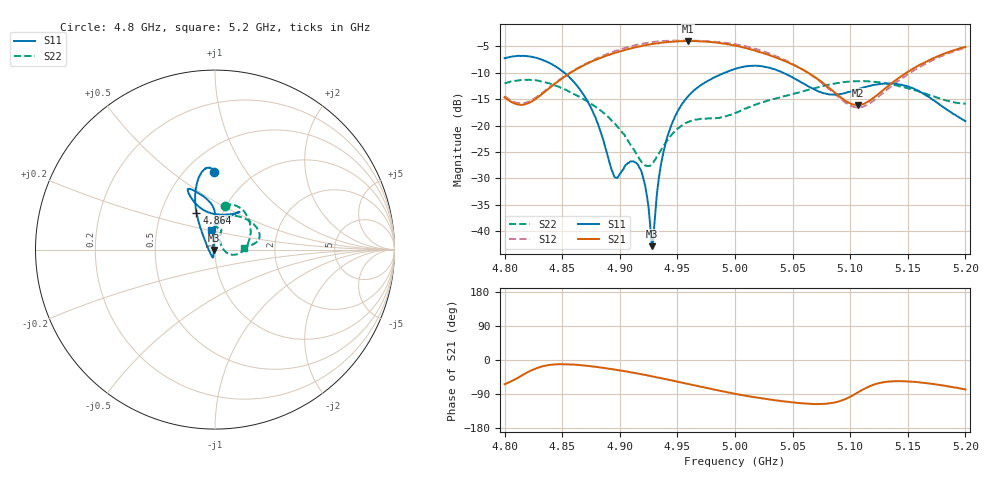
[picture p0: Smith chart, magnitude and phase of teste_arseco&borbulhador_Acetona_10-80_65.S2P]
! Network Analyzer HP8722D
! Hewlett-Packard
! Data name: Linha & Wilkinson
! Saver's name: Rodrigo Anjos
! Comments: Teste da utilização de aquisição
! continua pelo VNA HP8722D
! Time and date: 25/4/2025 15:48
!  Frequency  S11  S21  S12  S22
# HZ  S  MA R 50
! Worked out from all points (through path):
!   401 points, 4.8 GHz to 5.2 GHz, reference 50 ohm
!   highest |S21| = -3.97 dB at 4.959 GHz (marker M1); lowest = -16.1 dB at 5.107 GHz (marker M2)
!   lowest |S11| = -42.8 dB at 4.928 GHz (marker M3), VSWR 1.01, Z = 49.3 - j0.178 ohm
!   |S11| at or under -10 dB: 4.852 GHz to 4.991 GHz (138.7 MHz wide, 2.82 % of centre); 5.042 GHz to end of sweep
!   |S22| runs from -27.7 to -11.3 dB; largest |S21 - S12| = 1.2
!   S11 on the Smith chart (normalised r, x): 4.8 GHz: 0.68, +0.73; 4.864 GHz: 0.75, +0.33; 5.2 GHz: 0.94, +0.21
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4.8e9  0.4345 90.5  0.1856 -63.8  0.1904 69.9  0.2519 77.1
4.82e9  0.4529 96.8  0.162 -32.2  0.1678 98.6  0.271 61.6
4.843e9  0.3706 106.1  0.2466 -11.9  0.2498 118.8  0.2435 36.4
4.864e9  0.2308 116.6  0.3507 -13.0  0.3533 120.9  0.189 12.0
4.867e9  0.2076 118.3  0.3647 -14.1  0.369 120.7  0.1824 8.5
4.88e9  0.1102 128.8  0.424 -18.6  0.4344 118.2  0.1477 -5.4
4.896e9  0.03218 -162.8  0.491 -25.5  0.5092 113.1  0.104 -15.9
4.909e9  0.04561 -107.2  0.5361 -32.2  0.5629 107.5  0.06664 -14.0
4.917e9  0.03989 -103.3  0.5637 -36.4  0.591 103.4  0.04841 -0.8
4.922e9  0.02711 -107.1  0.5765 -39.4  0.6038 100.6  0.04204 16.8
4.928e9  0.007208 -165.5  0.5937 -43.2  0.618 96.9  0.04364 41.7
4.93e9  0.0115 125.0  0.5971 -44.4  0.6219 95.5  0.04665 48.4
4.934e9  0.03233 99.5  0.6042 -47.0  0.6302 93.2  0.05479 58.8
4.943e9  0.08931 90.7  0.6202 -52.6  0.6364 87.3  0.07681 68.8
4.959e9  0.1879 89.4  0.6333 -63.1  0.6396 77.3  0.1081 71.2
5e9  0.345 109.1  0.5736 -89.3  0.5911 50.7  0.1318 88.6
5.029e9  0.3553 114.9  0.4683 -103.9  0.4866 34.3  0.1733 85.7
5.067e9  0.2255 105.0  0.3008 -116.0  0.2974 23.6  0.2227 57.0
5.107e9  0.2215 63.5  0.1565 -84.9  0.1484 58.1  0.2637 24.1
5.134e9  0.2504 56.9  0.2429 -56.7  0.2277 88.6  0.2478 12.3
5.17e9  0.1812 70.6  0.4239 -62.5  0.4083 84.3  0.1929 6.8
5.2e9  0.1103 100.6  0.5568 -77.7  0.5468 70.1  0.1608 3.7
